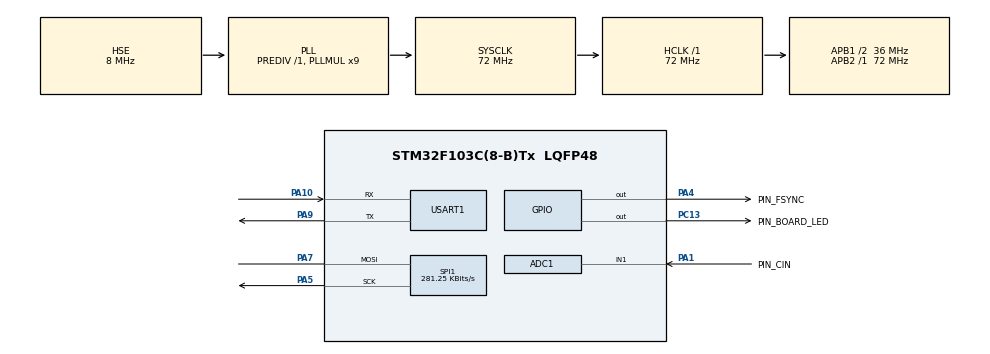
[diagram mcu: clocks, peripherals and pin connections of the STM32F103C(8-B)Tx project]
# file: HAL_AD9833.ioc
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ADC1.Channel-0\#ChannelRegularConversion=ADC_CHANNEL_1
ADC1.NbrOfConversionFlag=1
ADC1.Rank-0\#ChannelRegularConversion=1
ADC1.SamplingTime-0\#ChannelRegularConversion=ADC_SAMPLETIME_1CYCLE_5
ADC1.master=1
Mcu.Family=STM32F1
Mcu.Name=STM32F103C(8-B)Tx
Mcu.Package=LQFP48
NVIC.ADC1_2_IRQn=true\:0\:0\:false\:false\:true\:true\:true\:true
NVIC.FLASH_IRQn=true\:0\:0\:true\:false\:true\:true\:true\:true
NVIC.PVD_IRQn=true\:0\:0\:true\:false\:true\:true\:true\:true
NVIC.PriorityGroup=NVIC_PRIORITYGROUP_4
NVIC.RCC_IRQn=true\:0\:0\:true\:false\:true\:true\:false\:true
NVIC.SPI1_IRQn=true\:0\:0\:true\:false\:true\:true\:true\:true
NVIC.TIM2_IRQn=true\:0\:0\:false\:false\:true\:true\:true\:true
NVIC.USART1_IRQn=true\:0\:0\:true\:false\:true\:true\:true\:true
PA1.GPIO_Label=PIN_CIN
PA1.Signal=ADCx_IN1
PA10.Mode=Asynchronous
PA10.Signal=USART1_RX
PA4.GPIO_Label=PIN_FSYNC
PA4.Signal=GPIO_Output
PA5.Mode=Simplex_Bidirectional_Master
PA5.Signal=SPI1_SCK
PA7.Mode=Simplex_Bidirectional_Master
PA7.Signal=SPI1_MOSI
PA9.Mode=Asynchronous
PA9.Signal=USART1_TX
PC13-TAMPER-RTC.GPIO_Label=PIN_BOARD_LED
PC13-TAMPER-RTC.Signal=GPIO_Output
PD0-OSC_IN.Mode=HSE-External-Oscillator
PD0-OSC_IN.Signal=RCC_OSC_IN
PD1-OSC_OUT.Mode=HSE-External-Oscillator
PD1-OSC_OUT.Signal=RCC_OSC_OUT
ProjectManager.HeapSize=0x200
ProjectManager.StackSize=0x400
ProjectManager.TargetToolchain=STM32CubeIDE
RCC.ADCPresc=RCC_ADCPCLK2_DIV6
RCC.AHBFreq_Value=72000000
RCC.APB1CLKDivider=RCC_HCLK_DIV2
RCC.APB1Freq_Value=36000000
RCC.APB1TimFreq_Value=72000000
RCC.APB2Freq_Value=72000000
RCC.APB2TimFreq_Value=72000000
RCC.HCLKFreq_Value=72000000
RCC.PLLMUL=RCC_PLL_MUL9
RCC.PLLSourceVirtual=RCC_PLLSOURCE_HSE
RCC.SYSCLKFreq_VALUE=72000000
RCC.SYSCLKSource=RCC_SYSCLKSOURCE_PLLCLK
RCC.USBFreq_Value=72000000
SH.ADCx_IN1.0=ADC1_IN1,IN1
SPI1.BaudRatePrescaler=SPI_BAUDRATEPRESCALER_256
SPI1.CLKPhase=SPI_PHASE_1EDGE
SPI1.CLKPolarity=SPI_POLARITY_HIGH
SPI1.CalculateBaudRate=281.25 KBits/s
SPI1.Direction=SPI_DIRECTION_1LINE
SPI1.Mode=SPI_MODE_MASTER
SPI1.VirtualType=VM_MASTER
TIM2.AutoReloadPreload=TIM_AUTORELOAD_PRELOAD_ENABLE
TIM2.Period=1000-1
TIM2.Prescaler=6545-1
USART1.VirtualMode=VM_ASYNC
VP_TIM2_VS_ClockSourceINT.Mode=Internal
board=custom

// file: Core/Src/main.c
/* USER CODE BEGIN Header */
/**
 ******************************************************************************
 * @file           : main.c
 * @brief          : Main program body
 ******************************************************************************
 * @attention
 *
 * Copyright (c) 2023 STMicroelectronics.
 * All rights reserved.
 *
 * This software is licensed under terms that can be found in the LICENSE file
 * in the root directory of this software component.
 * If no LICENSE file comes with this software, it is provided AS-IS.
 *
 ******************************************************************************
 */
/* USER CODE END Header */
#include "main.h"

/* USER CODE BEGIN Includes */
#include "ad9833.h"
/* USER CODE END Includes */

/* USER CODE BEGIN PD */

/* Pin mapping

PA4 -> CS
PA5 -> SCLK
PA7 -> MOSI

*/

/* USER CODE END PD */

ADC_HandleTypeDef hadc1;

SPI_HandleTypeDef hspi1;

TIM_HandleTypeDef htim2;

UART_HandleTypeDef huart1;

/* USER CODE BEGIN PV */
AD9833_HandleTypeDef had9833;
/* USER CODE END PV */

void SystemClock_Config(void);
static void MX_GPIO_Init(void);
static void MX_USART1_UART_Init(void);
static void MX_SPI1_Init(void);
static void MX_ADC1_Init(void);
static void MX_TIM2_Init(void);
/* USER CODE BEGIN PFP */
void User_AD9833_Init(void);
/* USER CODE END PFP */

/* USER CODE BEGIN 0 */
uint8_t Buffer[25] = { 0 };
uint8_t recvd_data;
uint8_t data_buffer[100];
uint8_t transmit_buffer[100];
uint32_t count = 0;

uint32_t maxvalue =0, minvalue = 4096;
/* USER CODE END 0 */

int main(void)
{
  /* USER CODE BEGIN 1 */
	int length;
  /* USER CODE END 1 */

  /* MCU Configuration--------------------------------------------------------*/

  /* Reset of all peripherals, Initializes the Flash interface and the Systick. */
  HAL_Init();

  /* Configure the system clock */
  SystemClock_Config();

  /* Initialize all configured peripherals */
  MX_GPIO_Init();
  MX_USART1_UART_Init();
  MX_SPI1_Init();
  MX_ADC1_Init();
  MX_TIM2_Init();
  /* USER CODE BEGIN 2 */
	HAL_ADCEx_Calibration_Start(&hadc1);

	User_AD9833_Init();
	HAL_UART_Receive_IT(&huart1, &recvd_data, 1);
	AD9833_ApplySignal(&had9833, SINE_WAVE, REG0, 100000, SAME_AS_REG0, 0.0);
	AD9833_EnableOutput(&had9833, true);

	HAL_ADCEx_Calibration_Start(&hadc1);
	HAL_ADC_Start_IT(&hadc1);
	HAL_TIM_Base_Start_IT(&htim2);

  /* USER CODE END 2 */

  /* Infinite loop */
	while (1) {

    /* USER CODE BEGIN 3 */
		//HAL_ADC_Start_IT(&hadc1);
		// Poll ADC1 Perihperal & TimeOut = 1mSec
		//HAL_ADC_PollForConversion(&hadc1, 1);
		// Read The ADC Conversion Result & Map It To PWM DutyCycle
		//AD_RES = HAL_ADC_GetValue(&hadc1);

		memset(transmit_buffer, 0, 100);
		length = snprintf(transmit_buffer, 100, "Max Value - %d", maxvalue);
		transmit_buffer[length++] = '\n';
		transmit_buffer[length++] = '\r';

		//HAL_UART_Transmit(&huart1, transmit_buffer, length, HAL_MAX_DELAY);

		memset(transmit_buffer, 0, 100);
		length = snprintf(transmit_buffer, 100, "Min Value - %d", minvalue);
		transmit_buffer[length++] = '\n';
		transmit_buffer[length++] = '\r';

		//HAL_UART_Transmit(&huart1, transmit_buffer, length, HAL_MAX_DELAY);

		//HAL_Delay(2000);
	}
  /* USER CODE END 3 */
}

void SystemClock_Config(void)
{
  RCC_OscInitTypeDef RCC_OscInitStruct = {0};
  RCC_ClkInitTypeDef RCC_ClkInitStruct = {0};
  RCC_PeriphCLKInitTypeDef PeriphClkInit = {0};

  /** Initializes the RCC Oscillators according to the specified parameters
  * in the RCC_OscInitTypeDef structure.
  */
  RCC_OscInitStruct.OscillatorType = RCC_OSCILLATORTYPE_HSE;
  RCC_OscInitStruct.HSEState = RCC_HSE_ON;
  RCC_OscInitStruct.HSEPredivValue = RCC_HSE_PREDIV_DIV1;
  RCC_OscInitStruct.HSIState = RCC_HSI_ON;
  RCC_OscInitStruct.PLL.PLLState = RCC_PLL_ON;
  RCC_OscInitStruct.PLL.PLLSource = RCC_PLLSOURCE_HSE;
  RCC_OscInitStruct.PLL.PLLMUL = RCC_PLL_MUL9;
  if (HAL_RCC_OscConfig(&RCC_OscInitStruct) != HAL_OK)
  {
    Error_Handler();
  }

  /** Initializes the CPU, AHB and APB buses clocks
  */
  RCC_ClkInitStruct.ClockType = RCC_CLOCKTYPE_HCLK|RCC_CLOCKTYPE_SYSCLK
                              |RCC_CLOCKTYPE_PCLK1|RCC_CLOCKTYPE_PCLK2;
  RCC_ClkInitStruct.SYSCLKSource = RCC_SYSCLKSOURCE_PLLCLK;
  RCC_ClkInitStruct.AHBCLKDivider = RCC_SYSCLK_DIV1;
  RCC_ClkInitStruct.APB1CLKDivider = RCC_HCLK_DIV2;
  RCC_ClkInitStruct.APB2CLKDivider = RCC_HCLK_DIV1;

  if (HAL_RCC_ClockConfig(&RCC_ClkInitStruct, FLASH_LATENCY_2) != HAL_OK)
  {
    Error_Handler();
  }
  PeriphClkInit.PeriphClockSelection = RCC_PERIPHCLK_ADC;
  PeriphClkInit.AdcClockSelection = RCC_ADCPCLK2_DIV6;
  if (HAL_RCCEx_PeriphCLKConfig(&PeriphClkInit) != HAL_OK)
  {
    Error_Handler();
  }
}

static void MX_ADC1_Init(void)
{

  ADC_ChannelConfTypeDef sConfig = {0};

  /** Common config
  */
  hadc1.Instance = ADC1;
  hadc1.Init.ScanConvMode = ADC_SCAN_DISABLE;
  hadc1.Init.ContinuousConvMode = DISABLE;
  hadc1.Init.DiscontinuousConvMode = DISABLE;
  hadc1.Init.ExternalTrigConv = ADC_SOFTWARE_START;
  hadc1.Init.DataAlign = ADC_DATAALIGN_RIGHT;
  hadc1.Init.NbrOfConversion = 1;
  if (HAL_ADC_Init(&hadc1) != HAL_OK)
  {
    Error_Handler();
  }

  /** Configure Regular Channel
  */
  sConfig.Channel = ADC_CHANNEL_1;
  sConfig.Rank = ADC_REGULAR_RANK_1;
  sConfig.SamplingTime = ADC_SAMPLETIME_1CYCLE_5;
  if (HAL_ADC_ConfigChannel(&hadc1, &sConfig) != HAL_OK)
  {
    Error_Handler();
  }

}

static void MX_SPI1_Init(void)
{

  /* SPI1 parameter configuration*/
  hspi1.Instance = SPI1;
  hspi1.Init.Mode = SPI_MODE_MASTER;
  hspi1.Init.Direction = SPI_DIRECTION_1LINE;
  hspi1.Init.DataSize = SPI_DATASIZE_8BIT;
  hspi1.Init.CLKPolarity = SPI_POLARITY_HIGH;
  hspi1.Init.CLKPhase = SPI_PHASE_1EDGE;
  hspi1.Init.NSS = SPI_NSS_SOFT;
  hspi1.Init.BaudRatePrescaler = SPI_BAUDRATEPRESCALER_256;
  hspi1.Init.FirstBit = SPI_FIRSTBIT_MSB;
  hspi1.Init.TIMode = SPI_TIMODE_DISABLE;
  hspi1.Init.CRCCalculation = SPI_CRCCALCULATION_DISABLE;
  hspi1.Init.CRCPolynomial = 10;
  if (HAL_SPI_Init(&hspi1) != HAL_OK)
  {
    Error_Handler();
  }

}

static void MX_TIM2_Init(void)
{

  TIM_ClockConfigTypeDef sClockSourceConfig = {0};
  TIM_MasterConfigTypeDef sMasterConfig = {0};

  htim2.Instance = TIM2;
  htim2.Init.Prescaler = 6545-1;
  htim2.Init.CounterMode = TIM_COUNTERMODE_UP;
  htim2.Init.Period = 1000-1;
  htim2.Init.ClockDivision = TIM_CLOCKDIVISION_DIV1;
  htim2.Init.AutoReloadPreload = TIM_AUTORELOAD_PRELOAD_ENABLE;
  if (HAL_TIM_Base_Init(&htim2) != HAL_OK)
  {
    Error_Handler();
  }
  sClockSourceConfig.ClockSource = TIM_CLOCKSOURCE_INTERNAL;
  if (HAL_TIM_ConfigClockSource(&htim2, &sClockSourceConfig) != HAL_OK)
  {
    Error_Handler();
  }
  sMasterConfig.MasterOutputTrigger = TIM_TRGO_RESET;
  sMasterConfig.MasterSlaveMode = TIM_MASTERSLAVEMODE_DISABLE;
  if (HAL_TIMEx_MasterConfigSynchronization(&htim2, &sMasterConfig) != HAL_OK)
  {
    Error_Handler();
  }

}

static void MX_USART1_UART_Init(void)
{

  huart1.Instance = USART1;
  huart1.Init.BaudRate = 115200;
  huart1.Init.WordLength = UART_WORDLENGTH_8B;
  huart1.Init.StopBits = UART_STOPBITS_1;
  huart1.Init.Parity = UART_PARITY_NONE;
  huart1.Init.Mode = UART_MODE_TX_RX;
  huart1.Init.HwFlowCtl = UART_HWCONTROL_NONE;
  huart1.Init.OverSampling = UART_OVERSAMPLING_16;
  if (HAL_UART_Init(&huart1) != HAL_OK)
  {
    Error_Handler();
  }

}

static void MX_GPIO_Init(void)
{
  GPIO_InitTypeDef GPIO_InitStruct = {0};

  /* GPIO Ports Clock Enable */
  __HAL_RCC_GPIOC_CLK_ENABLE();
  __HAL_RCC_GPIOD_CLK_ENABLE();
  __HAL_RCC_GPIOA_CLK_ENABLE();

  /*Configure GPIO pin Output Level */
  HAL_GPIO_WritePin(PIN_BOARD_LED_GPIO_Port, PIN_BOARD_LED_Pin, GPIO_PIN_RESET);

  /*Configure GPIO pin Output Level */
  HAL_GPIO_WritePin(PIN_FSYNC_GPIO_Port, PIN_FSYNC_Pin, GPIO_PIN_RESET);

  /*Configure GPIO pin : PIN_BOARD_LED_Pin */
  GPIO_InitStruct.Pin = PIN_BOARD_LED_Pin;
  GPIO_InitStruct.Mode = GPIO_MODE_OUTPUT_PP;
  GPIO_InitStruct.Pull = GPIO_NOPULL;
  GPIO_InitStruct.Speed = GPIO_SPEED_FREQ_LOW;
  HAL_GPIO_Init(PIN_BOARD_LED_GPIO_Port, &GPIO_InitStruct);

  /*Configure GPIO pin : PIN_FSYNC_Pin */
  GPIO_InitStruct.Pin = PIN_FSYNC_Pin;
  GPIO_InitStruct.Mode = GPIO_MODE_OUTPUT_PP;
  GPIO_InitStruct.Pull = GPIO_NOPULL;
  GPIO_InitStruct.Speed = GPIO_SPEED_FREQ_LOW;
  HAL_GPIO_Init(PIN_FSYNC_GPIO_Port, &GPIO_InitStruct);

}

/* USER CODE BEGIN 4 */
void User_AD9833_Init() {
	had9833.FNCpin = PIN_FSYNC_Pin;
	had9833.FNCpinport = PIN_FSYNC_GPIO_Port;

	had9833.hspi = &hspi1;
	AD9833_Init(&had9833, 25000000UL);
}

void HAL_UART_RxCpltCallback(UART_HandleTypeDef *huart) {

	if (recvd_data == '\r') //when enter is pressed go to this condition
			{
		char *end;
		uint32_t dacValue = strtoul(data_buffer, &end, 10);

		data_buffer[count++] = '\r';
		data_buffer[count++] = '\n';
		HAL_UART_Transmit(huart, data_buffer, count, HAL_MAX_DELAY); //transmit the full sentence again
		memset(data_buffer, 0, count); // empty the data buffer
		count = 0;

		AD9833_ApplySignal(&had9833, SINE_WAVE, REG0, dacValue, SAME_AS_REG0, 0.0);
		AD9833_EnableOutput(&had9833, true);
	} else {
		data_buffer[count++] = recvd_data; // every time when interrput is happen, received 1 byte of data
		//HAL_UART_Transmit(huart, recvd_data, 1, HAL_MAX_DELAY);
	}
	HAL_UART_Receive_IT(&huart1, &recvd_data, 1); //start next data receive interrupt

}

// Callback: timer has rolled over
void HAL_TIM_PeriodElapsedCallback(TIM_HandleTypeDef *htim) {
	// Check which version of the timer triggered this callback and toggle LED
	/*if (htim == &htim2) {
		HAL_GPIO_TogglePin(PIN_BOARD_LED_GPIO_Port, PIN_BOARD_LED_Pin);
	}
	HAL_ADC_Start_IT(&hadc1);*/
}

void HAL_ADC_ConvCpltCallback(ADC_HandleTypeDef* hadc)
{
    // Read & Update The ADC Result
    uint16_t AD_RES = HAL_ADC_GetValue(&hadc1);
    if (maxvalue < AD_RES)
    	maxvalue = AD_RES;
    if (minvalue > AD_RES)
    	minvalue = AD_RES;

    memset(transmit_buffer, 0, 100);
    uint16_t length = snprintf(transmit_buffer, 100, "Adc Value - %d", AD_RES);
	transmit_buffer[length++] = '\n';
	transmit_buffer[length++] = '\r';

	//HAL_UART_Transmit(&huart1, transmit_buffer, length, HAL_MAX_DELAY);
}

/* USER CODE END 4 */

void Error_Handler(void)
{
	__disable_irq();
	while (1) {
	}
}
